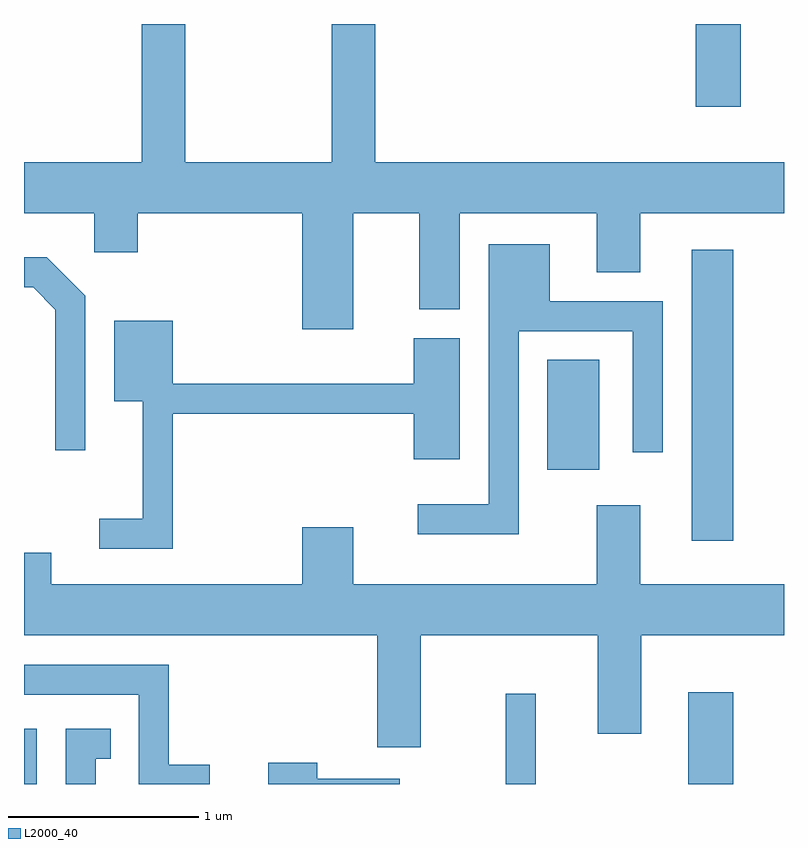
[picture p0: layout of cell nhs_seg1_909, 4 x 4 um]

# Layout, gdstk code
import gdstk
lib = gdstk.Library(unit=1e-6, precision=1e-09)
def R(c, l, rs):  # rectangles x0, y0, x1, y1
    for r in rs: c.add(gdstk.rectangle(r[:2], r[2:], *l))
def P(c, l, *ps):  # polygons
    for p in ps: c.add(gdstk.Polygon(p, *l))
L2000_40 = (2000, 40)

nhs_seg1_909 = lib.new_cell('nhs_seg1_909')
R(nhs_seg1_909, L2000_40, [(213.611,867.712,213.679,868.004), (216.146,867.712,216.304,868.188), (217.106,867.712,217.344,868.194), (217.126,868.991,217.344,870.524), (216.366,869.366,216.639,869.944), (217.146,871.276,217.384,871.712)])
P(nhs_seg1_909, L2000_40, [(215.344,870.716),(215.691,870.716),(215.691,870.211),(215.904,870.211),(215.904,870.716),(216.626,870.716),(216.626,870.406),(216.854,870.406),(216.854,870.716),(217.611,870.716),(217.611,870.984),(215.459,870.984),(215.459,871.712),(215.231,871.712),(215.231,870.984),(214.459,870.984),(214.459,871.712),(214.231,871.712),(214.231,870.984),(213.611,870.984),(213.611,870.716),(213.981,870.716),(213.981,870.511),(214.209,870.511),(214.209,870.716),(215.076,870.716),(215.076,870.106),(215.344,870.106)],
  [(216.214,870.096),(216.816,870.096),(216.816,869.458),(216.974,869.458),(216.974,870.254),(216.379,870.254),(216.379,870.554),(216.056,870.554),(216.056,869.184),(215.683,869.184),(215.683,869.026),(216.214,869.026)],
  [(213.934,870.282),(213.732,870.484),(213.611,870.484),(213.611,870.326),(213.659,870.326),(213.776,870.209),(213.776,869.468),(213.934,869.468)],
  [(214.394,869.661),(215.661,869.661),(215.661,869.421),(215.904,869.421),(215.904,870.059),(215.661,870.059),(215.661,869.819),(214.394,869.819),(214.394,870.149),(214.086,870.149),(214.086,869.726),(214.236,869.726),(214.236,869.109),(214.008,869.109),(214.008,868.951),(214.394,868.951)],
  [(215.699,868.496),(216.631,868.496),(216.631,867.976),(216.859,867.976),(216.859,868.496),(217.611,868.496),(217.611,868.764),(216.854,868.764),(216.854,869.179),(216.626,869.179),(216.626,868.764),(215.344,868.764),(215.344,869.064),(215.076,869.064),(215.076,868.764),(213.754,868.764),(213.754,868.929),(213.611,868.929),(213.611,868.496),(215.471,868.496),(215.471,867.906),(215.699,867.906)],
  [(214.589,867.814),(214.374,867.814),(214.374,868.339),(213.611,868.339),(213.611,868.181),(214.216,868.181),(214.216,867.712),(214.589,867.712)],
  [(213.989,867.846),(214.068,867.846),(214.068,868.004),(213.831,868.004),(213.831,867.712),(213.989,867.712)],
  [(215.589,867.739),(215.154,867.739),(215.154,867.824),(214.896,867.824),(214.896,867.712),(215.589,867.712)])

lib.write_gds('nhs_seg1_909.gds')
